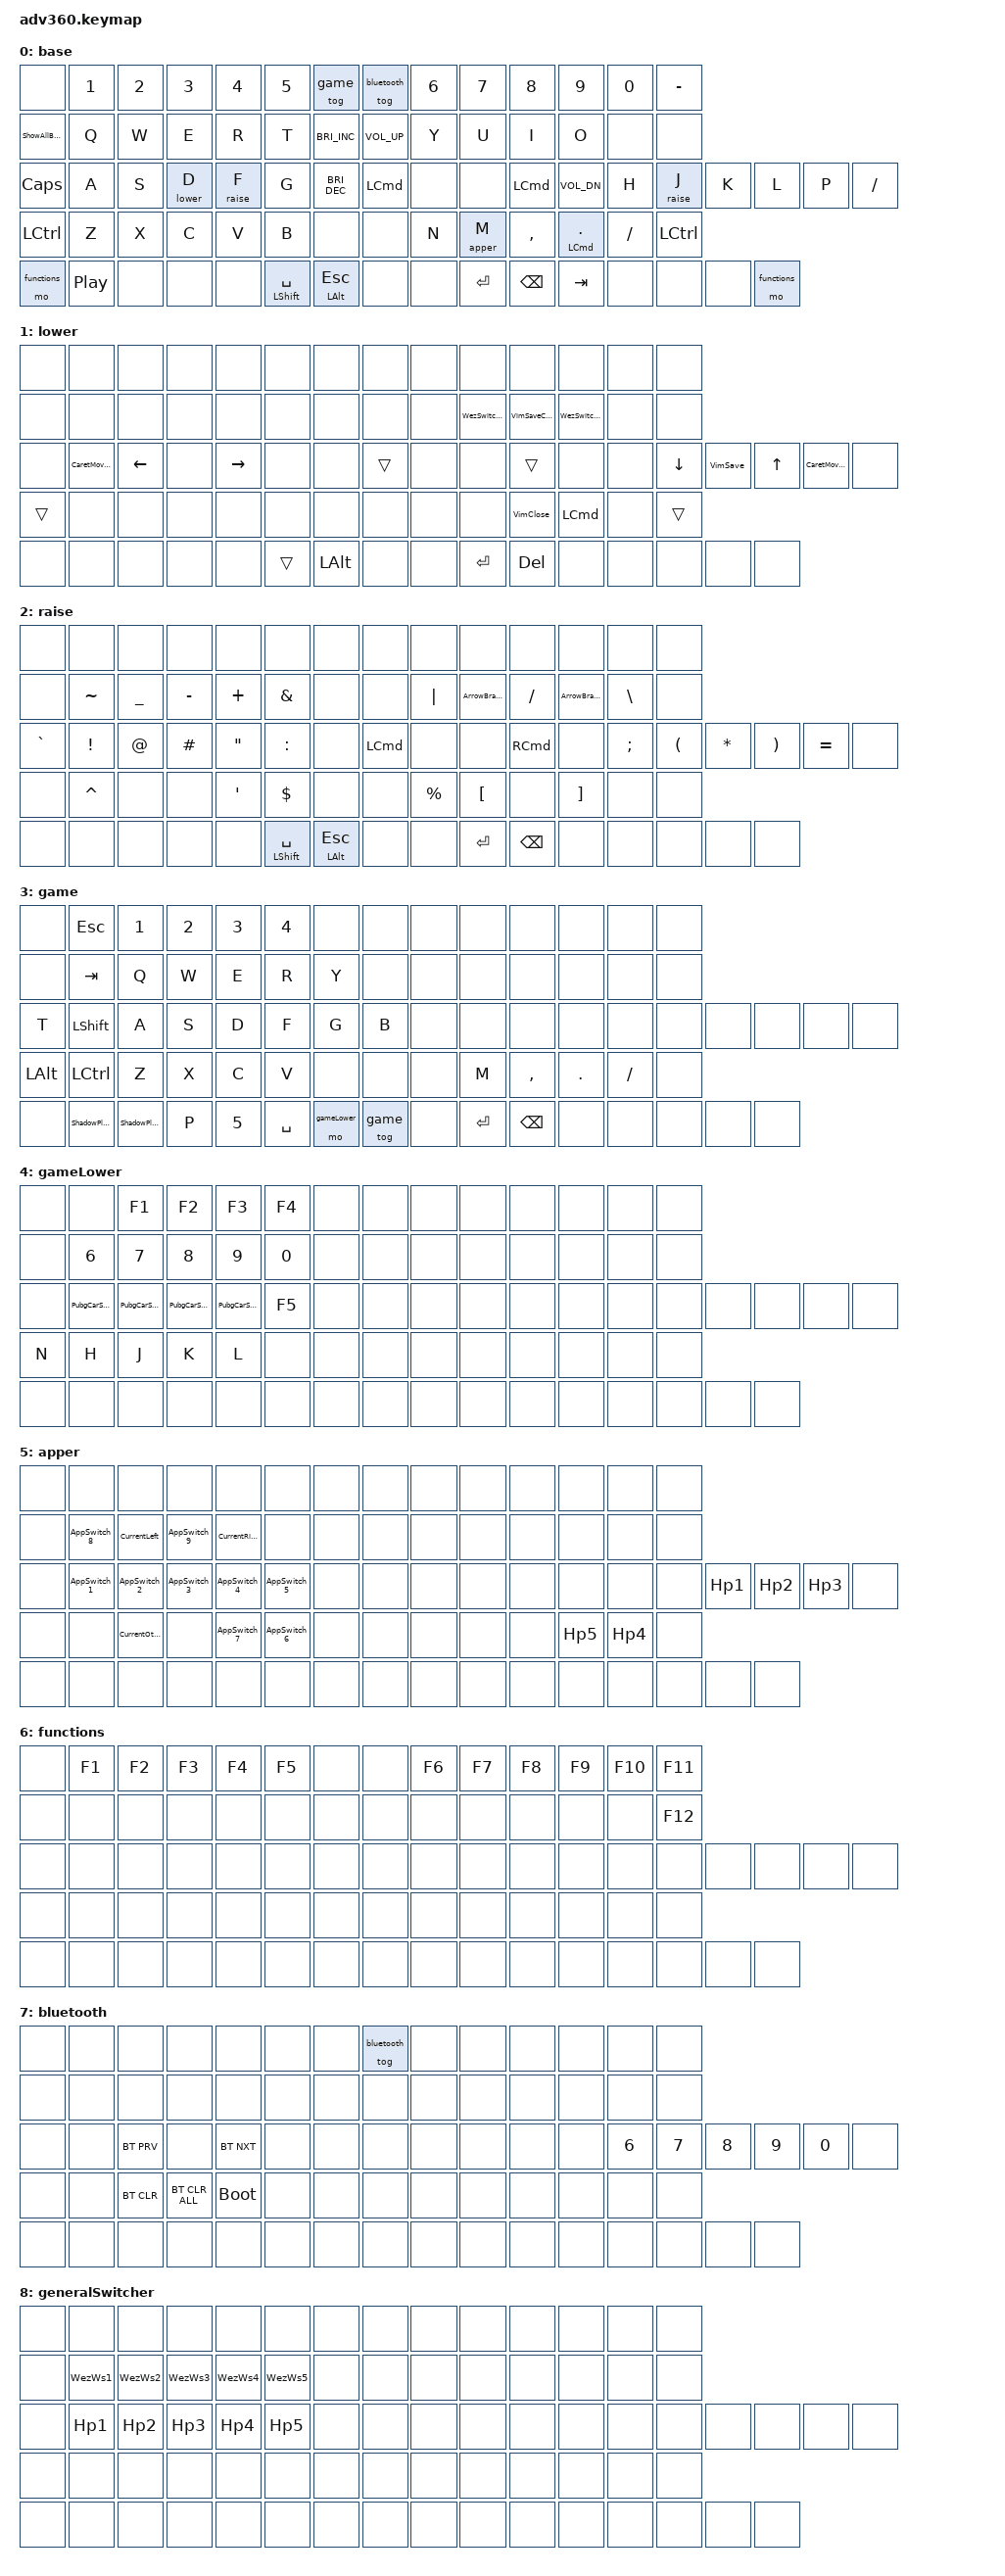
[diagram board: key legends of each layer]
#include <behaviors.dtsi>
#include <dt-bindings/zmk/backlight.h>
#include <dt-bindings/zmk/bt.h>
#include <dt-bindings/zmk/keys.h>
#include <dt-bindings/zmk/rgb.h>
// #define base_layer 0
// #define lower 1
// #define raise 2
// #define lower_sub 3
// #define jb_func 4
// #define app_switch 5
// #define fn 6
// #define bluetooth 7
// #define game 8
// #define game_lower 9

#define base 0
#define lower 1
#define raise 2
#define game 3
#define gameLower 4
#define apper 5
#define functions 6
#define bluetooth 7
#define generalSwitcher 8

/ {
  macros {
  AppSwitch_1:
    AppSwitch_1 {
      label = "AppSwitch_1";
      compatible = "zmk,behavior-macro";
#binding-cells = < 0>;
      bindings = 
      <&macro_press &kp LEFT_COMMAND &kp LALT>,
      <&macro_tap &kp N1>,
      <&macro_release &kp LEFT_COMMAND &kp LALT>;
    };

  AppSwitch_2:
    AppSwitch_2 {
      label = "AppSwitch_2";
      compatible = "zmk,behavior-macro";
#binding-cells = < 0>;
      bindings = <&macro_press &kp LEFT_COMMAND &kp LALT>,
      <&macro_tap &kp N2>,
      <&macro_release &kp LEFT_COMMAND &kp LALT>;
    };

AppSwitch_3:
    AppSwitch_3 {
      label = "AppSwitch_3";
      compatible = "zmk,behavior-macro";
#binding-cells = < 0>;
      bindings = <&macro_press &kp LEFT_COMMAND &kp LALT>,
      <&macro_tap &kp N3>,
      <&macro_release &kp LEFT_COMMAND &kp LALT>;
    };

AppSwitch_4:
    AppSwitch_4 {
      label = "AppSwitch_4";
      compatible = "zmk,behavior-macro";
#binding-cells = < 0>;
      bindings = <&macro_press &kp LEFT_COMMAND &kp LALT>,
      <&macro_tap &kp N4>,
      <&macro_release &kp LEFT_COMMAND &kp LALT>;
    };

AppSwitch_5:
    AppSwitch_5 {
      label = "AppSwitch_5";
      compatible = "zmk,behavior-macro";
#binding-cells = < 0>;
      bindings = <&macro_press &kp LEFT_COMMAND &kp LALT>,
      <&macro_tap &kp N5>,
      <&macro_release &kp LEFT_COMMAND &kp LALT>;
    };

AppSwitch_6:
    AppSwitch_6 {
      label = "AppSwitch_6";
      compatible = "zmk,behavior-macro";
#binding-cells = < 0>;
      bindings = <&macro_press &kp LEFT_COMMAND &kp LALT>,
      <&macro_tap &kp N6>,
      <&macro_release &kp LEFT_COMMAND &kp LALT>;
    };

AppSwitch_7:
    AppSwitch_7 {
      label = "AppSwitch_7";
      compatible = "zmk,behavior-macro";
#binding-cells = < 0>;
      bindings = <&macro_press &kp LEFT_COMMAND &kp LALT>,
      <&macro_tap &kp N7>,
      <&macro_release &kp LEFT_COMMAND &kp LALT>;
    };

    AppSwitch_8:
    AppSwitch_8 {
      label = "AppSwitch_8";
      compatible = "zmk,behavior-macro";
#binding-cells = < 0>;
      bindings = <&macro_press &kp LEFT_COMMAND &kp LALT>,
      <&macro_tap &kp N8>,
      <&macro_release &kp LEFT_COMMAND &kp LALT>;
    };

    AppSwitch_9:
    AppSwitch_9 {
      label = "AppSwitch_9";
      compatible = "zmk,behavior-macro";
#binding-cells = < 0>;
      bindings = <&macro_press &kp LEFT_COMMAND &kp LALT>,
      <&macro_tap &kp N9>,
      <&macro_release &kp LEFT_COMMAND &kp LALT>;
    };


WebDevModeMin:WebDevModeMin {
      label = "WebDevModeMin";
      compatible = "zmk,behavior-macro";
#binding-cells = < 0>;
      bindings = 
      <&macro_press &kp LALT &kp LEFT_COMMAND>,
      <&macro_tap &kp J>,
      <&macro_release &kp LALT &kp LEFT_COMMAND>;
    };
WebDevModeMid:WebDevModeMid {
      label = "WebDevModeMid";
      compatible = "zmk,behavior-macro";
#binding-cells = < 0>;
      bindings = 
      <&macro_press &kp LALT &kp LEFT_COMMAND>,
      <&macro_tap &kp K>,
      <&macro_release &kp LALT &kp LEFT_COMMAND>;
    };
CurrentLeft:CurrentLeft {
      label = "CurrentLeft";
      compatible = "zmk,behavior-macro";
#binding-cells = < 0>;
      bindings = 
      <&macro_press &kp LALT &kp LEFT_COMMAND>,
      <&macro_tap &kp H>,
      <&macro_release &kp LALT &kp LEFT_COMMAND>;
    };
CurrentRight:CurrentRight {
      label = "CurrentRight";
      compatible = "zmk,behavior-macro";
#binding-cells = < 0>;
      bindings = 
      <&macro_press &kp LALT &kp LEFT_COMMAND>,
      <&macro_tap &kp P>,
      <&macro_release &kp LALT &kp LEFT_COMMAND>;
    };
CurrentFullScr:CurrentFullScr {
      label = "CurrentFullScr";
      compatible = "zmk,behavior-macro";
#binding-cells = < 0>;
      bindings = 
      <&macro_press &kp LALT &kp LEFT_COMMAND>,
      <&macro_tap &kp F>,
      <&macro_release &kp LALT &kp LEFT_COMMAND>;
    };
CurrentMinScr:CurrentMinScr {
      label = "CurrentMinScr";
      compatible = "zmk,behavior-macro";
#binding-cells = < 0>;
      bindings = 
      <&macro_press &kp LALT &kp LEFT_COMMAND>,
      <&macro_tap &kp C>,
      <&macro_release &kp LALT &kp LEFT_COMMAND>;
    };
CurrentMidScr: CurrentMidScr {
      label = "CurrentMidScr";
      compatible = "zmk,behavior-macro";
#binding-cells = < 0>;
      bindings = 
      <&macro_press &kp LALT &kp LEFT_COMMAND>,
      <&macro_tap &kp V>,
      <&macro_release &kp LALT &kp LEFT_COMMAND>;
    };

CurrentOtherHide: CurrentOtherHide {
      label = "CurrentOtherHide";
      compatible = "zmk,behavior-macro";
#binding-cells = < 0>;
      bindings = 
      <&macro_press &kp LALT &kp LEFT_COMMAND>,
      <&macro_tap &kp M>,
      <&macro_release &kp LALT &kp LEFT_COMMAND>;
    };

  ArrowBracketsStart:
    ArrowBracketsStart {
      label = "ArrowBracketsStart";
      compatible = "zmk,behavior-macro";
#binding-cells = < 0>;
      bindings = <&macro_press &kp LSHIFT>, <&macro_tap &kp COMMA>,
      <&macro_release &kp LSHIFT>;
    };

  ArrowBracketsEnd:
    ArrowBracketsEnd {
      label = "ArrowBracketsEnd";
      compatible = "zmk,behavior-macro";
#binding-cells = < 0>;
      bindings = <&macro_press &kp LSHIFT>, <&macro_tap &kp DOT>,
      <&macro_release &kp LSHIFT>;
    };

  CaretMoveToHome:
    CaretMoveToHome {
      label = "CaretMoveToHome";
      compatible = "zmk,behavior-macro";
#binding-cells = < 0>;
      bindings = <&macro_press &kp LEFT_COMMAND>, <&macro_tap &kp LEFT>,
      <&macro_release &kp LEFT_COMMAND>;
    };

  CaretMoveToEnd:
    CaretMoveToEnd {
      label = "CaretMoveToEnd";
      compatible = "zmk,behavior-macro";
#binding-cells = < 0>;
      bindings = <&macro_press &kp LEFT_COMMAND>, <&macro_tap &kp RIGHT>,
      <&macro_release &kp LEFT_COMMAND>;
    };

  DiviOpenLoadOut:
    DiviOpenLoadOut {
      label = "DiviOpenLoadOut";
      compatible = "zmk,behavior-macro";
#binding-cells = < 0>;
      bindings = <&macro_tap &kp TAB &kp H>;
    };
  DiviBuyMacro:
    DiviBuyMacro {
      label = "DiviBuyMacro";
      compatible = "zmk,behavior-macro";
#binding-cells = < 0>;
      bindings = <&macro_tap &kp SPACE &kp G>;
    };
  DiviOpenSocial:
    DiviOpenSocial {
      label = "DiviOpenSocial";
      compatible = "zmk,behavior-macro";
#binding-cells = < 0>;
      bindings = <&macro_tap &kp ESC &kp A &kp S &kp SPACE>;
    };

  OsSearch:
    OsSearch {
      label = "OsSearch";
      compatible = "zmk,behavior-macro";
#binding-cells = < 0>;
      bindings = <&macro_press &kp LEFT_COMMAND>, <&macro_tap &kp SPACE>,
      <&macro_release &kp LEFT_COMMAND>;
    };

  ShadowPlaySS:
    ShadowPlaySS {
      label = "ShadowPlaySS";
      compatible = "zmk,behavior-macro";
#binding-cells = < 0>;
      bindings = <&macro_press &kp LALT>, <&macro_tap &kp F1>,
      <&macro_release &kp LALT>;
    };
  ShadowPlayIR:
    ShadowPlayIR {
      label = "ShadowPlayIR";
      compatible = "zmk,behavior-macro";
#binding-cells = < 0>;
      bindings = <&macro_press &kp LALT>, <&macro_tap &kp F10>,
      <&macro_release &kp LALT>;
    };
  ValheimPrint:
    ValheimPrint {
      label = "ValheimPrint";
      compatible = "zmk,behavior-macro";
#binding-cells = < 0>;
      bindings = <&macro_tap &kp ENTER>, <&macro_tap &kp MINUS &kp MINUS>,
      <&macro_tap &kp ENTER>, <&macro_tap &kp ENTER>,
      <&macro_tap &kp FSLH &kp P &kp R &kp I &kp N &kp T &kp S &kp E &kp E &kp D &kp S>,
      <&macro_tap &kp ENTER>;
    };

	WezSwitchPaneRight: WezSwitchPaneRight{
	    compatible = "zmk,behavior-macro";
	    label = "WezSwitchPaneRight";
	    #binding-cells = <0>;
	    bindings
		= <&macro_press &kp LALT>
		, <&macro_tap &kp B>
		, <&macro_release &kp LALT>
		, <&macro_tap &kp P &kp RIGHT>
		;
	};

	WezSwitchPaneLeft: WezSwitchPaneLeft{
	    compatible = "zmk,behavior-macro";
	    label = "WezSwitchPaneLeft";
	    #binding-cells = <0>;
	    bindings
		= <&macro_press &kp LALT>
		, <&macro_tap &kp B>
		, <&macro_release &kp LALT>
		, <&macro_tap &kp P &kp LEFT>
		;
	};

	WezSwitchWS: WezSwitchWS{
	    compatible = "zmk,behavior-macro";
	    label = "WezSwitchWS";
	    #binding-cells = <0>;
	    bindings
		= <&macro_press &kp LCTRL>
		, <&macro_tap &kp B>
		, <&macro_release &kp LCTRL>
		, <&macro_tap &kp S>
		;
	};

	WezNextTab: WezNextTab{
	    compatible = "zmk,behavior-macro";
	    label = "WezNextTab";
	    #binding-cells = <0>;
	    bindings
		= <&macro_press &kp LEFT_COMMAND>
		, <&macro_tap &kp RIGHT>
		, <&macro_release &kp LEFT_COMMAND>
		;
	};

	WezPrevTab: WezPrevTab{
	    compatible = "zmk,behavior-macro";
	    label = "WezPrevTab";
	    #binding-cells = <0>;
	    bindings
		= <&macro_press &kp LEFT_COMMAND>
		, <&macro_tap &kp LEFT>
		, <&macro_release &kp LEFT_COMMAND>
		;
	};

	VimSaveClose: VimSaveClose{
	    compatible = "zmk,behavior-macro";
	    label = "VimSaveClose";
	    #binding-cells = <0>;
	    bindings = <&macro_tap &kp COLON &kp W &kp Q>;
	};

	VimSave: VimSave{
	    compatible = "zmk,behavior-macro";
	    label = "VimSave";
	    #binding-cells = <0>;
	    bindings = <&macro_tap &kp COLON &kp W>;
	};

	VimClose:VimClose {
	    compatible = "zmk,behavior-macro";
	    label = "VimClose";
	    #binding-cells = <0>;
	    bindings = <&macro_tap &kp COLON &kp Q>;
	};

	PubgMuteTog:PubgMuteTog {
	    compatible = "zmk,behavior-macro";
	    label = "p";
	    #binding-cells = <0>;
	    bindings = <&macro_tap &kp COLON &kp Q>;
	};

	PubgCarSeet1:PubgCarSeet1 {
	    compatible = "zmk,behavior-macro";
	    label = "PubgCarSeet1";
	    #binding-cells = <0>;
	    bindings  
		= <&macro_press &kp LCTRL>
		, <&macro_tap &kp N1>
		, <&macro_release &kp LCTRL>
		;
	};

	PubgCarSeet2:PubgCarSeet2 {
	    compatible = "zmk,behavior-macro";
	    label = "PubgCarSeet2";
	    #binding-cells = <0>;
	    bindings  
		= <&macro_press &kp LCTRL>
		, <&macro_tap &kp N2>
		, <&macro_release &kp LCTRL>
		;
	};

	PubgCarSeet3:PubgCarSeet3 {
	    compatible = "zmk,behavior-macro";
	    label = "PubgCarSeet3";
	    #binding-cells = <0>;
	    bindings  
		= <&macro_press &kp LCTRL>
		, <&macro_tap &kp N3>
		, <&macro_release &kp LCTRL>
		;
	};

	PubgCarSeet4:PubgCarSeet4 {
	    compatible = "zmk,behavior-macro";
	    label = "PubgCarSeet4";
	    #binding-cells = <0>;
	    bindings  
		= <&macro_press &kp LCTRL>
		, <&macro_tap &kp N4>
		, <&macro_release &kp LCTRL>
		;
	};

	WezWs1: WezWs1{
	    compatible = "zmk,behavior-macro";
	    label = "WezWs1";
	    #binding-cells = <0>;
	    bindings
		= <&macro_press &kp LALT>
		, <&macro_tap &kp B>
		, <&macro_release &kp LALT>
		, <&macro_tap &kp N1>
		;
	};

	WezWs2: WezWs2{
	    compatible = "zmk,behavior-macro";
	    label = "WezWs2";
	    #binding-cells = <0>;
	    bindings
		= <&macro_press &kp LALT>
		, <&macro_tap &kp B>
		, <&macro_release &kp LALT>
		, <&macro_tap &kp N2>
		;
	};

	WezWs3: WezWs3{
	    compatible = "zmk,behavior-macro";
	    label = "WezWs3";
	    #binding-cells = <0>;
	    bindings
		= <&macro_press &kp LALT>
		, <&macro_tap &kp B>
		, <&macro_release &kp LALT>
		, <&macro_tap &kp N3>
		;
	};

	WezWs4: WezWs4{
	    compatible = "zmk,behavior-macro";
	    label = "WezWs4";
	    #binding-cells = <0>;
	    bindings
		= <&macro_press &kp LALT>
		, <&macro_tap &kp B>
		, <&macro_release &kp LALT>
		, <&macro_tap &kp N4>
		;
	};

	WezWs5: WezWs5{
	    compatible = "zmk,behavior-macro";
	    label = "WezWs5";
	    #binding-cells = <0>;
	    bindings
		= <&macro_press &kp LALT>
		, <&macro_tap &kp B>
		, <&macro_release &kp LALT>
		, <&macro_tap &kp N5>
		;
	};

	ShowAllBootedApps: ShowAllBootedApps{
	    compatible = "zmk,behavior-macro";
	    label = "ShowAllBootedApps";
	    #binding-cells = <0>;
	    bindings
		= <&macro_press &kp LSHIFT &kp LCTRL>
		, <&macro_tap &kp UP>
		, <&macro_release &kp LSHIFT &kp LCTRL>
		;
	};

	Hp1: Hp1{
	    compatible = "zmk,behavior-macro";
	    label = "Hp1";
	    #binding-cells = <0>;
	    bindings
		= <&macro_press &kp LCTRL>
		, <&macro_tap &kp N1>
		, <&macro_release &kp LCTRL>
		;
	};

	Hp2: Hp2{
	    compatible = "zmk,behavior-macro";
	    label = "Hp2";
	    #binding-cells = <0>;
	    bindings
		= <&macro_press &kp LCTRL>
		, <&macro_tap &kp N2>
		, <&macro_release &kp LCTRL>
		;
	};	

Hp3: Hp3{
	    compatible = "zmk,behavior-macro";
	    label = "Hp3";
	    #binding-cells = <0>;
	    bindings
		= <&macro_press &kp LCTRL>
		, <&macro_tap &kp N3>
		, <&macro_release &kp LCTRL>
		;
	};
Hp4: Hp4{
	    compatible = "zmk,behavior-macro";
	    label = "Hp4";
	    #binding-cells = <0>;
	    bindings
		= <&macro_press &kp LCTRL>
		, <&macro_tap &kp N4>
		, <&macro_release &kp LCTRL>
		;
	};
Hp5: Hp5{
	    compatible = "zmk,behavior-macro";
	    label = "Hp5";
	    #binding-cells = <0>;
	    bindings
		= <&macro_press &kp LCTRL>
		, <&macro_tap &kp N5>
		, <&macro_release &kp LCTRL>
		;
	};

     };
};

/ {
	behaviors {
      #include "macros.dtsi"
      #include "version.dtsi"
      #ifndef VERSION_MACRO
      macro_ver: macro_ver {
        compatible = "zmk,behavior-macro";
        label = "macro_version";
        #binding-cells = <0>;
        bindings = <&kp RET>;
      };
      #endif

      hm: homerow_mods {
          compatible = "zmk,behavior-hold-tap";
          label = "HOMEROW_MODS";
          #binding-cells = <2>;
          tapping-term-ms = <200>;
          quick_tap_ms = <175>;
          flavor = "tap-preferred";
          bindings = <&kp>, <&kp>;
      };
    };

  base {
    compatible = "zmk,keymap";
    base {
	    bindings=<&none	&kp N1	&kp N2	&kp N3	&kp N4	&kp N5	&tog game					&tog bluetooth	&kp N6	&kp N7	&kp N8	&kp N9	&kp N0	&kp MINUS
&ShowAllBootedApps	&kp Q	&kp W	&kp E	&kp R	&kp T	&kp C_BRIGHTNESS_INC					&kp C_VOL_UP	&kp Y	&kp U	&kp I	&kp O	&none	&none
&kp CAPS	&kp A	&kp S	&lt lower D	&lt raise F	&kp G	&kp C_BRIGHTNESS_DEC	&kp LEFT_COMMAND	&none	&none	&kp LEFT_COMMAND	&kp C_VOL_DN	&kp H	&lt raise J	&kp K	&kp L	&kp P	&kp FSLH
&kp LCTRL	&kp Z	&kp X	&kp C	&kp V	&kp B			&none	&none			&kp N	&lt apper M	&kp COMMA	&mt LEFT_COMMAND DOT	&kp FSLH	&kp LCTRL
&mo functions	&kp C_PLAY_PAUSE	&none	&none	&none		&mt LSHIFT SPACE	&mt LALT ESC	&none	&none	&kp ENTER	&kp BSPC		&kp TAB	&none	&none	&none	&mo functions>; };
    lower {bindings=<&none	&none	&none	&none	&none	&none	&none					&none	&none	&none	&none	&none	&none	&none
&none	&none	&none	&none	&none	&none	&none					&none	&none	&WezSwitchPaneLeft	&VimSaveClose	&WezSwitchPaneRight	&none	&none
&none	&CaretMoveToHome	&kp LEFT	&none	&kp RIGHT	&none	&none	&trans	&none	&none	&trans	&none	&none	&kp DOWN	&VimSave	&kp UP	&CaretMoveToEnd	&none
&trans	&none	&none	&none	&none	&none			&none	&none			&none	&none	&VimClose	&kp LEFT_COMMAND	&none	&trans
&none	&none	&none	&none	&none		&trans	&kp LALT	&none	&none	&kp ENTER	&kp DEL		&none	&none	&none	&none	&none>;
    };
    raise {bindings=<&none	&none	&none	&none	&none	&none	&none					&none	&none	&none	&none	&none	&none	&none
&none	&kp TILDE	&kp UNDERSCORE	&kp MINUS	&kp PLUS	&kp AMPERSAND	&none					&none	&kp PIPE	&ArrowBracketsStart	&kp FSLH	&ArrowBracketsEnd	&kp BSLH	&none
&kp GRAVE	&kp EXCLAMATION	&kp AT_SIGN	&kp HASH	&kp DOUBLE_QUOTES	&kp COLON	&none	&kp LEFT_COMMAND	&none	&none	&kp RIGHT_COMMAND	&none	&kp SEMICOLON	&kp LEFT_PARENTHESIS	&kp ASTERISK	&kp RIGHT_PARENTHESIS	&kp EQUAL	&none
&none	&kp CARET	&none	&none	&kp SINGLE_QUOTE	&kp DLLR			&none	&none			&kp PRCNT	&kp LBKT	&none	&kp RBKT	&none	&none
&none	&none	&none	&none	&none		&mt LSHIFT SPACE	&mt LALT ESC	&none	&none	&kp ENTER	&kp BSPC		&none	&none	&none	&none	&none>;
    };
    game {
	    bindings=<&none	&kp ESC	&kp N1	&kp N2	&kp N3	&kp N4	&none					&none	&none	&none	&none	&none	&none	&none
&none	&kp TAB	&kp Q	&kp W	&kp E	&kp R	&kp Y					&none	&none	&none	&none	&none	&none	&none
&kp T	&kp LSHIFT	&kp A	&kp S	&kp D	&kp F	&kp G	&kp B	&none	&none	&none	&none	&none	&none	&none	&none	&none	&none
&kp LALT	&kp LCTRL	&kp Z	&kp X	&kp C	&kp V			&none	&none			&none	&kp M	&kp COMMA	&kp DOT	&kp FSLH	&none
&none	&ShadowPlaySS	&ShadowPlayIR	&kp P	&kp N5		&kp SPACE	&mo gameLower	&tog game	&none	&kp ENTER	&kp BSPC		&none	&none	&none	&none	&none>;
    };
    gameLower {bindings=<&none	&none	&kp F1	&kp F2	&kp F3	&kp F4	&none					&none	&none	&none	&none	&none	&none	&none
&none	&kp N6	&kp N7	&kp N8	&kp N9	&kp N0	&none					&none	&none	&none	&none	&none	&none	&none
&none	&PubgCarSeet1	&PubgCarSeet2	&PubgCarSeet3	&PubgCarSeet4	&kp F5	&none	&none	&none	&none	&none	&none	&none	&none	&none	&none	&none	&none
&kp N	&kp H	&kp J	&kp K	&kp L	&none			&none	&none			&none	&none	&none	&none	&none	&none
&none	&none	&none	&none	&none		&none	&none	&none	&none	&none	&none		&none	&none	&none	&none	&none>;
    };
    apper {
	    bindings=<
		&none	&none	&none	&none	&none	&none	&none					&none	&none	&none	&none	&none	&none	&none
		&none	&AppSwitch_8	&CurrentLeft	&AppSwitch_9	&CurrentRight	&none	&none					&none	&none	&none	&none	&none	&none	&none
		&none	&AppSwitch_1	&AppSwitch_2	&AppSwitch_3	&AppSwitch_4	&AppSwitch_5	&none	&none	&none	&none	&none	&none	&none	&none	&Hp1	&Hp2	&Hp3	&none
		&none	&none	&CurrentOtherHide	&none	&AppSwitch_7	&AppSwitch_6			&none	&none			&none	&none	&none	&Hp5	&Hp4	&none
		&none	&none	&none	&none	&none		&none	&none	&none	&none	&none	&none		&none	&none	&none	&none	&none
	    >;
    };
    functions {
	    bindings=<&none	&kp F1	&kp F2	&kp F3	&kp F4	&kp F5	&none					&none	&kp F6	&kp F7	&kp F8	&kp F9	&kp F10	&kp F11
&none	&none	&none	&none	&none	&none	&none					&none	&none	&none	&none	&none	&none	&kp F12
&none	&none	&none	&none	&none	&none	&none	&none	&none	&none	&none	&none	&none	&none	&none	&none	&none	&none
&none	&none	&none	&none	&none	&none			&none	&none			&none	&none	&none	&none	&none	&none
&none	&none	&none	&none	&none		&none	&none	&none	&none	&none	&none		&none	&none	&none	&none	&none>;
    };
    bluetooth {
	    bindings=<&none	&none	&none	&none	&none	&none	&none					&tog bluetooth	&none	&none	&none	&none	&none	&none
&none	&none	&none	&none	&none	&none	&none					&none	&none	&none	&none	&none	&none	&none
&none	&none	&bt BT_PRV	&none	&bt BT_NXT	&none	&none	&none	&none	&none	&none	&none	&kp N6	&kp N7	&kp N8	&kp N9	&kp N0	&none
&none	&none	&bt BT_CLR	&bt BT_CLR_ALL	&bootloader	&none			&none	&none			&none	&none	&none	&none	&none	&none
&none	&none	&none	&none	&none		&none	&none	&none	&none	&none	&none		&none	&none	&none	&none	&none>;
    };

generalSwitcher{bindings=<&none	&none	&none	&none	&none	&none	&none					&none	&none	&none	&none	&none	&none	&none
&none	&WezWs1	&WezWs2	&WezWs3	&WezWs4	&WezWs5	&none					&none	&none	&none	&none	&none	&none	&none
&none	&Hp1	&Hp2	&Hp3	&Hp4	&Hp5	&none	&none	&none	&none	&none	&none	&none	&none	&none	&none	&none	&none
&none	&none	&none	&none	&none	&none			&none	&none			&none	&none	&none	&none	&none	&none
&none	&none	&none	&none	&none		&none	&none	&none	&none	&none	&none		&none	&none	&none	&none	&none>;};


  };
};
